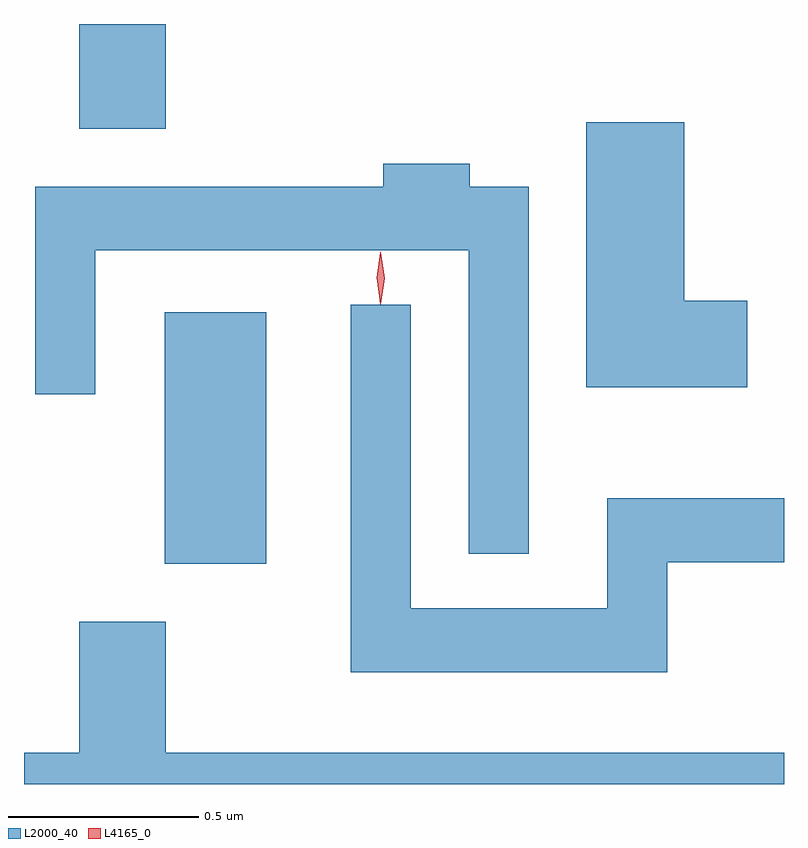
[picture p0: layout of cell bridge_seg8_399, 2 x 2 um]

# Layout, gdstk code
import gdstk
lib = gdstk.Library(unit=1e-6, precision=1e-09)
def R(c, l, rs):  # rectangles x0, y0, x1, y1
    for r in rs: c.add(gdstk.rectangle(r[:2], r[2:], *l))
def P(c, l, *ps):  # polygons
    for p in ps: c.add(gdstk.Polygon(p, *l))
L2000_40 = (2000, 40)
L4165_0 = (4165, 0)

bridge_seg8_399 = lib.new_cell('bridge_seg8_399')
R(bridge_seg8_399, L2000_40, [(684.056,1919.321,684.324,1919.984), (683.831,1920.466,684.059,1920.742)])
P(bridge_seg8_399, L2000_40, [(685.589,1920.014),(685.424,1920.014),(685.424,1920.484),(685.166,1920.484),(685.166,1919.786),(685.589,1919.786)],
  [(685.014,1920.314),(684.859,1920.314),(684.859,1920.374),(684.631,1920.374),(684.631,1920.314),(683.716,1920.314),(683.716,1919.768),(683.874,1919.768),(683.874,1920.146),(684.856,1920.146),(684.856,1919.348),(685.014,1919.348)],
  [(685.379,1919.326),(685.686,1919.326),(685.686,1919.494),(685.221,1919.494),(685.221,1919.204),(684.704,1919.204),(684.704,1920.003),(684.546,1920.003),(684.546,1919.036),(685.379,1919.036)],
  [(685.686,1918.824),(684.059,1918.824),(684.059,1919.169),(683.831,1919.169),(683.831,1918.824),(683.686,1918.824),(683.686,1918.742),(685.686,1918.742)])
P(bridge_seg8_399, L4165_0, [(684.623,1920.007),(684.614,1920.074),(684.623,1920.14),(684.624,1920.14),(684.624,1920.14),(684.634,1920.074),(684.624,1920.007),(684.624,1920.007)],
  [(684.624,1920.004),(684.615,1920.073),(684.624,1920.142),(684.625,1920.143),(684.625,1920.142),(684.635,1920.073),(684.625,1920.004),(684.625,1920.004)])

lib.write_gds('bridge_seg8_399.gds')
